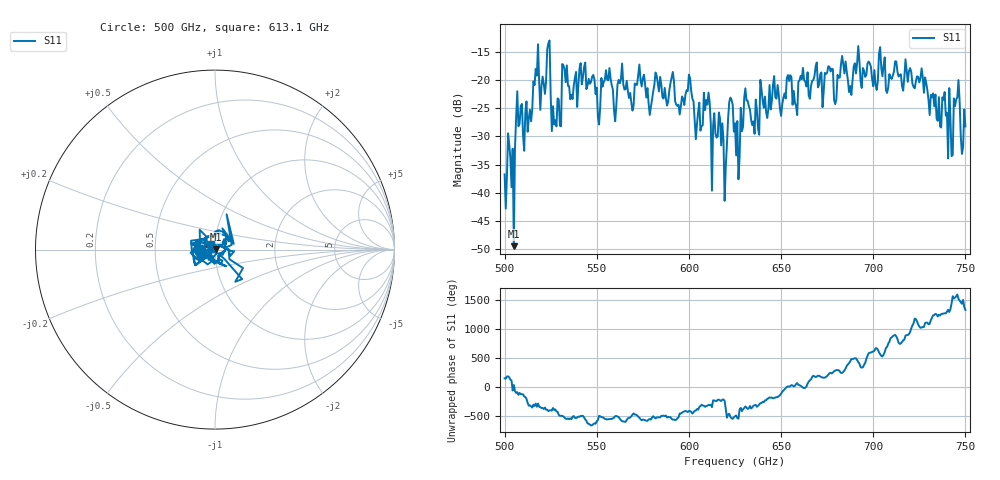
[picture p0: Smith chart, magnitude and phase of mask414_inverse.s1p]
!Created with skrf (http://scikit-rf.org).
# GHz S MA R 50.0
!freq magS11 angS11
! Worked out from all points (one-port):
!   401 points, 500 GHz to 750 GHz, reference 50 ohm
!   lowest |S11| = -49.4 dB at 505 GHz (marker M1), VSWR 1.01, Z = 50.3 + j0.177 ohm
!   |S11| at or under -10 dB: start of sweep to end of sweep
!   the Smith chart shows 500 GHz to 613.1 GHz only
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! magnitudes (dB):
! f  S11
! 500 GHz  -36.7
! 505 GHz  -49.4
! 507.5 GHz  -28.2
! 513.8 GHz  -25.3
! 516.9 GHz  -18.1
! 520.6 GHz  -19.4
! 523.8 GHz  -13.5
! 526.9 GHz  -27.9
! 531.2 GHz  -17.2
! 542.5 GHz  -19.5
! 550.6 GHz  -26.6
! 562.5 GHz  -20.6
! 590.6 GHz  -19.6
! 593.8 GHz  -24.6
! 609.4 GHz  -23.6
! 618.8 GHz  -30.7
! 622.5 GHz  -23.1
! 625 GHz  -27.7
! 656.2 GHz  -24.4
! 680 GHz  -23.4
! 683.8 GHz  -17.2
! 687.5 GHz  -21.1
! 691.2 GHz  -17.1
! 718.8 GHz  -20.3
! 738.8 GHz  -22.1
! 741.9 GHz  -26.8
! 745 GHz  -23.5
! 750 GHz  -28.2
